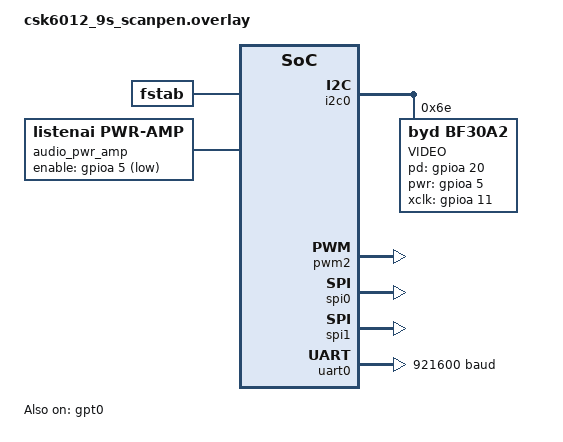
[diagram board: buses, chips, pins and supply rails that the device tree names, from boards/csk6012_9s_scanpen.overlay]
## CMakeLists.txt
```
cmake_minimum_required(VERSION 3.20.0)
# Copyright (c) 2018 Nordic Semiconductor ASA
# Copyright (c) 2019 Linaro Limited
#
# SPDX-License-Identifier: Apache-2.0
#
#set(ZEPHYR_EXTRA_MODULES $ENV{ZEPHYR_BASE}/../modules/lib/sof_host)

if("${BOARD}" STREQUAL "csk6_tester" OR "${BOARD}" STREQUAL "csk6002_c3_nano"  OR "${BOARD}" STREQUAL "csk6002_9s_nano" OR "${BOARD}" STREQUAL "csk6012_9s_scanpen")
  set(BUILD_DSP_FIRMWARE OFF)
  find_package(Zephyr REQUIRED HINTS $ENV{ZEPHYR_BASE})
  message(INFO " ${BOARD} compile as Master in this sample")
  target_sources(app PRIVATE src/main.c)
  add_subdirectory(./src)
  zephyr_compile_options(-g3 -gdwarf-2)
  add_subdirectory(lisa_hal)
  add_subdirectory(scanpen_lisa/lisa_os)
  add_subdirectory(scanpen_lisa/lisa_net)
  add_subdirectory(scanpen_lisa/unit_test)
  add_subdirectory(scanpen_lisa/scanpen_sdk)
  # add_subdirectory(scanpen_lisa/scanpen_app)
  # zephyr_compile_options(-fno-short-enums)
  #zephyr_ld_options(-fno-short-enums)

  # zephyr_code_relocate($ENV{ZEPHYR_BASE}/kernel/sched.c SRAM_TEXT)
  # # zephyr_code_relocate($ENV{ZEPHYR_BASE}/kernel/timer.c SRAM_TEXT)
  # # zephyr_code_relocate($ENV{ZEPHYR_BASE}/kernel/thread.c SRAM_TEXT)
  
  # # zephyr_code_relocate($ENV{ZEPHYR_BASE}/arch/arm/core/aarch32/prep_c.c SRAM_TEXT)
  # # zephyr_code_relocate($ENV{ZEPHYR_BASE}/arch/arm/core/aarch32/cpu_idle.S SRAM_TEXT)
  
  # zephyr_code_relocate($ENV{ZEPHYR_BASE}/arch/arm/core/aarch32/swap.c SRAM_TEXT)
  # zephyr_code_relocate($ENV{ZEPHYR_BASE}/arch/arm/core/aarch32/swap_helper.S SRAM_TEXT)
  
  # zephyr_code_relocate($ENV{ZEPHYR_BASE}/arch/arm/core/aarch32/cortex_m/vector_table.S SRAM_TEXT)
  # # zephyr_code_relocate($ENV{ZEPHYR_BASE}/arch/arm/core/aarch32/cortex_m/thread.c SRAM_TEXT)
  # # zephyr_code_relocate($ENV{ZEPHYR_BASE}/arch/arm/core/aarch32/cortex_m/timing.c SRAM_TEXT)
  # # zephyr_code_relocate($ENV{ZEPHYR_BASE}/arch/arm/core/aarch32/cortex_m/reset.S SRAM_TEXT)
  # # zephyr_code_relocate($ENV{ZEPHYR_BASE}/arch/arm/core/aarch32/cortex_m/thread.S SRAM_TEXT)
  
  # zephyr_code_relocate($ENV{ZEPHYR_BASE}/arch/arm/core/aarch32/irq_manage.c SRAM_TEXT)
  # zephyr_code_relocate($ENV{ZEPHYR_BASE}/arch/arm/core/aarch32/irq_relay.S SRAM_TEXT)
  # zephyr_code_relocate($ENV{ZEPHYR_BASE}/arch/arm/core/aarch32/isr_wrapper.S SRAM_TEXT)
  # zephyr_code_relocate($ENV{ZEPHYR_BASE}/arch/arm/core/aarch32/cortex_m/exc_exit.S SRAM_TEXT)
  
  # # zephyr_code_relocate($ENV{ZEPHYR_BASE}/soc/arm/csk6/cache.c SRAM_TEXT)
  # # zephyr_code_relocate($ENV{ZEPHYR_BASE}/soc/arm/csk6/mpu_regions.c SRAM_TEXT)
  # zephyr_code_relocate($ENV{ZEPHYR_BASE}/include/arch/arm/aarch32/asm_inline_gcc.h SRAM_TEXT)
  # zephyr_code_relocate($ENV{ZEPHYR_BASE}/include/arch/arm/aarch32/irq.h SRAM_TEXT)
  
  zephyr_code_relocate($ENV{ZEPHYR_BASE}/drivers/dma/dma_csk6.c ITCM_TEXT)
  zephyr_code_relocate($ENV{ZEPHYR_BASE}/../modules/hal/listenai/csk6/drivers/cm33/dma.c ITCM_TEXT)
  zephyr_code_relocate($ENV{ZEPHYR_BASE}/drivers/video/bf30a2.c ITCM_TEXT)
  
  if((CONFIG_MBEDTLS_ENABLE_HEAP) AND (CONFIG_CODE_DATA_RELOCATION))
    zephyr_code_relocate( ${ZEPHYR_BASE}/modules/mbedtls/zephyr_init.c PSRAMAP_BSS)
  endif()

 
  zephyr_compile_options(-g3 -gdwarf-2)
endif()


if(BUILD_DSP_FIRMWARE)

  set(REMOTE_ZEPHYR_DIR ${CMAKE_CURRENT_BINARY_DIR}/sof-dsp-prefix/src/sof-dsp-build/zephyr)

  if("${BOARD}" STREQUAL "csk6_tester" OR "${BOARD}" STREQUAL "csk6002_c3_nano"  OR "${BOARD}" STREQUAL "csk6002_9s_nano" OR "${BOARD}" STREQUAL "csk6012_9s_scanpen")
    set(BOARD_REMOTE "ls_adsp_csk6")
  else()
    message(FATAL_ERROR "${BOARD} was not supported for this sample")
  endif()

  project(sof-dsp)

  enable_language(C ASM)

  #target_sources(app PRIVATE src/load_fw.c src/mem_image_store.c src/platform_info.c src/zynqmp_csk6_rproc_example.c )

  include(ExternalProject)

  set(ENV{XCC_USE_CLANG} "1")
  set(ENV{ZEPHYR_TOOLCHAIN_VARIANT} "xcc")

  ExternalProject_Add(
    sof_remote
    SOURCE_DIR ${APPLICATION_SOURCE_DIR}/remote
    INSTALL_COMMAND ""      # This particular build system has no install command
    CMAKE_CACHE_ARGS -DBOARD:STRING=${BOARD_REMOTE}
    BUILD_BYPRODUCTS "${REMOTE_ZEPHYR_DIR}/${KERNEL_BIN_NAME}"
    # NB: Do we need to pass on more CMake variables?
    BUILD_ALWAYS True
  )

  unset(ENV{XCC_USE_CLANG})
  unset(ENV{ZEPHYR_TOOLCHAIN_VARIANT})
  target_include_directories(app PRIVATE ${CMAKE_CURRENT_SOURCE_DIR} ./src) 

endif()
```

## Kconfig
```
# Private config options for load sencond core firmware app

# SPDX-License-Identifier: Apache-2.0

# Workaround for not being able to have commas in macro arguments

DT_CHOSEN_Z_FLASH_SYSFS_STORAGE := zephyr,flash_sysfs_storage
DT_CHOSEN_Z_FLASH_CONTROLLER := zephyr,flash_controller
DT_CHOSEN_Z_INN_FLASH := zephyr,flash
DT_CHOSEN_Z_IPC_SHM := zephyr,ipc_shm
DT_CHOSEN_Z_PSRAM_AP := zephyr,psramap

if DISK_DRIVER_FLASH

	config DISK_FLASH_START
		default "$(dt_chosen_reg_addr_hex,$(DT_CHOSEN_Z_FLASH_SYSFS_STORAGE))"

	config DISK_FLASH_DEV_NAME
		default "$(dt_chosen_label,$(DT_CHOSEN_Z_FLASH_CONTROLLER))"

	config DISK_VOLUME_SIZE
		default "$(dt_chosen_reg_size_hex,$(DT_CHOSEN_Z_FLASH_SYSFS_STORAGE))"


	config DISK_FLASH_MAX_RW_SIZE
		default 4096
		#default $(dt_node_int_prop_hex,$(DT_CHOSEN_Z_INN_FLASH),erase-block-size)

	config DISK_FLASH_ERASE_ALIGNMENT
		default 0x1000
		#default "$(dt_node_int_prop_hex,$(DT_CHOSEN_Z_INN_FLASH),erase-block-size)"

	config DISK_ERASE_BLOCK_SIZE
		default 0x1000
		#default "$(dt_node_int_prop_hex,$(DT_CHOSEN_Z_INN_FLASH),erase-block-size)"
endif


#SOF IPC MEMORY CONFIG
config SOF_IPC_SHM_BASE_ADDRESS
	default "$(dt_chosen_reg_addr_hex,$(DT_CHOSEN_Z_IPC_SHM))"

config SOF_IPC_SHM_SIZE
	default "$(dt_chosen_reg_size_hex,$(DT_CHOSEN_Z_IPC_SHM))"
	help
	  This option specifies size of the memory region to be used
	  for the SOF IPC shared memory


config PSRAMAP_BASE_ADDRESS
	hex 
	default "$(dt_chosen_reg_addr_hex,$(DT_CHOSEN_Z_PSRAM_AP))"

config PSRAMAP_SIZE
	hex
	default "$(dt_chosen_reg_size_hex,$(DT_CHOSEN_Z_PSRAM_AP))"

menu "Example Configuration"

    config EXAMPLE_WIFI_SSID
        string "WiFi SSID"
        default "wifi_ssid"

    config EXAMPLE_WIFI_PASSWORD
        string "WiFi password"
        default "wifi_password"

endmenu


config LISA_HEAP_ARENA_SIZE
	int "Size of the lisa mem malloc arena"
	default 0
	help
	  Indicate the size in bytes of the memory arena used for
	  lisa_mem's malloc() implementation.

source "Kconfig.zephyr"
```

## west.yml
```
manifest:
  remotes:
    - name: listenai
      url-base: https://cloud.listenai.com/scanpen/csk6/sdk
  projects:
    - name: zephyr
      remote: listenai
      revision: 28948c137231ab44253a2e729aa4dbc6e8312f28
      clone-depth: 1
      path: zephyr
      import: true
    - name: lisa_hal_online
      remote: listenai
      revision: 689c45ffdedde0779443e77d40d4767fab5d9736
      path: app/lisa_hal
    - name: scanpen_lisa 
      remote: listenai
      revision: 846b871bfbc017d22d0a4b19ea70b61c978e8d3b
      path: app/scanpen_lisa
    
```

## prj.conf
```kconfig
CONFIG_PRINTK=y
CONFIG_DEBUG=y
CONFIG_LOG=y
CONFIG_LOG_PRINTK=y
CONFIG_LOG_MODE_IMMEDIATE=y
#CONFIG_LOG_BUFFER_SIZE=1024
# CONFIG_LOG_STRDUP_MAX_STRING=128
# CONFIG_LOG_STRDUP_BUF_COUNT=64
CONFIG_LOG_DETECT_MISSED_STRDUP=n
CONFIG_LOG_BACKEND_SHOW_COLOR=y
CONFIG_LOG_BACKEND_FORMAT_TIMESTAMP=y
CONFIG_LOG_BACKEND_UART=y
CONFIG_LOG_BACKEND_UART_OUTPUT_TEXT=y
CONFIG_GPIO=y
CONFIG_MAIN_STACK_SIZE=4096
CONFIG_HEAP_MEM_POOL_SIZE=66000

#libc配置
CONFIG_NEWLIB_LIBC_FLOAT_PRINTF=y
CONFIG_NEWLIB_LIBC=y
CONFIG_NEWLIB_LIBC_FLOAT_SCANF=y

#psram init
CONFIG_CSK6_PSRAM=y
CONFIG_TEST_RANDOM_GENERATOR=y

#file system
#CONFIG_DISK_DRIVER_FLASH=y
CONFIG_FLASH=y
CONFIG_FLASH_MAP=y
CONFIG_FILE_SYSTEM=y
#CONFIG_FS_FATFS_CODEPAGE=936
#CONFIG_FS_FATFS_LFN=y
#CONFIG_FS_FATFS_MAX_LFN=255
#CONFIG_FS_FATFS_LFN_MODE_BSS=y


#usb mass storage
#CONFIG_USB_DEVICE_STACK=y
#CONFIG_USB_DEVICE_PRODUCT="Zephyr DFU sample"
#CONFIG_USB_MASS_STORAGE=y
#CONFIG_MASS_STORAGE_STACK_SIZE=4096
#CONFIG_MASS_STORAGE_DISK_NAME="NAND"
CONFIG_SYSTEM_WORKQUEUE_STACK_SIZE=2048

#CONFIG_USB_DRIVER_LOG_LEVEL_ERR=y
#CONFIG_USB_DEVICE_LOG_LEVEL_ERR=y
#CONFIG_USB_MASS_STORAGE_LOG_LEVEL_ERR=y
#CONFIG_USB_DRIVER_LOG_LEVEL_ERR=y

#usb cdc
#CONFIG_UART_LINE_CTRL=y
#CONFIG_USB_CDC_ACM_RINGBUF_SIZE=4096
#CONFIG_USB_CDC_ACM_LOG_LEVEL_ERR=y

#usb dfu
# CONFIG_USB_DFU_CLASS=y
# CONFIG_IMG_MANAGER=y
# CONFIG_IMG_BLOCK_BUF_SIZE=4096
#CONFIG_BOOTLOADER_MCUBOOT=y

#Fixd for WinUSB driver install.
#CONFIG_USB_DEVICE_VID=0x2FE3
#CONFIG_USB_DEVICE_PID=0x200

#sof
CONFIG_SOF_HOST=y
CONFIG_AVF_DEBUG_LEVEL=2
CONFIG_AVF_STREAM_SVR_DEBUG=n
#CONFIG_AVF_LOG_LEVEL_ERR=y
#CONFIG_AVF_USE_FS_FATFS=y
#CONFIG_FAT_FILESYSTEM_ELM=y
CONFIG_AVF_USE_FS_LITTLEFS=y
CONFIG_AVF_DSP_XIP=y
CONFIG_AVF_MODULES_ALG_OCR=y
CONFIG_AVF_MODULES_ALG_TTS=y
CONFIG_AVF_MODULES_ALG_TRANSLATE=y

CONFIG_FILE_SYSTEM_LITTLEFS=y
CONFIG_POSIX_MAX_FDS=16
#sof example usr lisa heap 96k
CONFIG_LISA_HEAP_ARENA_SIZE=1580000
CONFIG_AVF_EXAMPLE=y
CONFIG_AVF_SHELL=y
CONFIG_AVF_USE_LISA_HEAP=y

#IPM
CONFIG_IPM=y

#shell
CONFIG_SHELL_ARGC_MAX=16
CONFIG_SHELL=y
CONFIG_SHELL_THREAD_PRIORITY_OVERRIDE=y
CONFIG_SHELL_THREAD_PRIORITY=-1

#network-wifi
CONFIG_WIFI=y
CONFIG_CSK_WIFI_XR819S=y
CONFIG_CSK_WIFI_STATION=y
CONFIG_NET_L2_ETHERNET=y
#networking
CONFIG_NETWORKING=y
CONFIG_NET_DHCPV4=y
CONFIG_NET_IPV4=y
CONFIG_NET_TCP=y
CONFIG_NET_SOCKETS=y
CONFIG_NET_SOCKETS_CONNECT_TIMEOUT=3000
CONFIG_NET_SOCKETS_POSIX_NAMES=y
CONFIG_NET_MGMT=y
CONFIG_NET_MGMT_EVENT=y
CONFIG_NET_MGMT_EVENT_STACK_SIZE=2048
CONFIG_NET_TCP_WORKQ_STACK_SIZE=2048
CONFIG_NET_RX_STACK_SIZE=2048
CONFIG_NET_TX_STACK_SIZE=2048
CONFIG_NET_PKT_RX_COUNT=80
CONFIG_NET_PKT_TX_COUNT=120
CONFIG_NET_BUF_RX_COUNT=64
CONFIG_NET_BUF_TX_COUNT=100
CONFIG_NET_CONTEXT_NET_PKT_POOL=y
CONFIG_NET_TCP_RECV_QUEUE_TIMEOUT=10000

CONFIG_DNS_RESOLVER=y
CONFIG_DNS_SERVER_IP_ADDRESSES=y
CONFIG_DNS_SERVER1="8.8.8.8"

CONFIG_SYSTEM_WORKQUEUE_PRIORITY=-1
CONFIG_INIT_STACKS=y

# Network debug config
# CONFIG_NET_LOG=y

# HTTP & Websocket
CONFIG_HTTP_CLIENT=y
CONFIG_WEBSOCKET_CLIENT=n

# TLS configuration
CONFIG_MBEDTLS=y
CONFIG_MBEDTLS_BUILTIN=y
CONFIG_MBEDTLS_ENABLE_HEAP=y
CONFIG_MBEDTLS_HEAP_SIZE=53284
CONFIG_MBEDTLS_SSL_MAX_CONTENT_LEN=2048

# to enable TLS
CONFIG_NET_SOCKETS_SOCKOPT_TLS=y
CONFIG_NET_SOCKETS_TLS_MAX_CONTEXTS=10

# ListenAI moudle support
# zephyr System abstraction layer for other rtos, like freertos
CONFIG_ZPORT_SAL=y
CONFIG_ZPORT_SAL_LISA_MEM=y
# sal port to esp
CONFIG_ZPORT_ESP_TCP=y
CONFIG_ZPORT_ESP_HTTP=y
CONFIG_ZPORT_ESP_WS=y
CONFIG_ZPORT_ESP_ADF=n
# esp http & websocket
CONFIG_ZE_TCP_TRANSPORT=y
CONFIG_ZE_TCP_TRANSPORT_ENABLE_SSL=y
CONFIG_ZE_HTTP_CLIENT=y
CONFIG_ZE_HTTP_CLIENT_ENABLE_HTTPS=y
CONFIG_ZE_WEBSOCKET_CLIENT=y
CONFIG_BASE64=y
# esp adf - pipeline
# CONFIG_ZE_ADF=y
# CONFIG_ZE_ADF_HTTP_STREAM_ENABLE=y
# CONFIG_ZE_ADF_FS_STREAM_ENABLE=y
# CONFIG_ZE_ADF_MEMORY_STREAM_ENABLE=y
# CONFIG_ZE_ADF_AVF_STREAM_ENABLE=y
# lisa player
#CONFIG_LISA_PLAYER=y
#CONFIG_LISA_PLAYER_AUDIO_STRCASECMP_ENABLE=y

# Custom config for example
#CONFIG_LISA_PLAYER_SHELL_ENABLE=y
#CONFIG_LISA_PLAYER_SHELL_DEFINE_FILE="/NAND:/{{YOUR_FILE_NAME}}.wav"
# setup local http_server in ./temp/ folder:
# Linux: export LISA_ZEP_EXEC=1 && lisa zep exec python -m http.server 8080
# Windows: set LISA_ZEP_EXEC=1 && lisa zep exec python -m http.server 8080
# 打开 http://127.0.0.1:8080
#CONFIG_LISA_PLAYER_SHELL_DEFINE_URL="http://{{YOUR_PC_IP}}:8080/fdf7ea5d44626d0319e2fac116019d4af.wav"

# config wifi
# CONFIG_EXAMPLE_WIFI_SSID="Xiaomi_2.4G"
# CONFIG_EXAMPLE_WIFI_PASSWORD="a123456789"

CONFIG_EXAMPLE_WIFI_SSID="TreeNewbear"
CONFIG_EXAMPLE_WIFI_PASSWORD="csk_wifi_connect"

# Enable Testing

# shell: ze_http_client test_start
CONFIG_ZE_HTTP_CLIENT_TEST_SHELL=y

# shell: ze_websocket_client test_start
CONFIG_ZE_WEBSOCKET_CLIENT_TEST_SHELL=y
# websocket server test paltform: http://www.easyswoole.com/wstool.html
CONFIG_ZE_WEBSOCKET_CLIENT_TEST_URI="ws://82.157.123.54:9010/ajaxchattest"

#shell
CONFIG_SHELL_ARGC_MAX=16
CONFIG_SHELL=y

#cache
CONFIG_CACHE_MANAGEMENT=y

# mcumgr
CONFIG_MCUMGR=y
# Required by the `taskstat` command.
CONFIG_THREAD_MONITOR=y
# Enable statistics and statistic names.
CONFIG_STATS=y
CONFIG_STATS_NAMES=y
# Enable most core commands.
# CONFIG_MCUMGR_CMD_IMG_MGMT=y
CONFIG_MCUMGR_CMD_OS_MGMT=y
CONFIG_MCUMGR_CMD_STAT_MGMT=y
CONFIG_MCUMGR_CMD_FS_MGMT=y
# Enable the shell mcumgr transport.
CONFIG_MCUMGR_SMP_SHELL=y
CONFIG_SHELL_LOG_BACKEND=n
# Enable the UDP mcumgr transports.
# CONFIG_MCUMGR_SMP_UDP=y
# CONFIG_MCUMGR_SMP_UDP_IPV4=y
# CONFIG_MCUMGR_SMP_UDP_IPV6=y
# CONFIG_NET_CONNECTION_MANAGER=y
# CONFIG_NET_BUF_USER_DATA_SIZE=24


# video
CONFIG_SPI=y
CONFIG_I2C=y
CONFIG_DMA=y
CONFIG_PWM=y
CONFIG_VIDEO=y
CONFIG_VIDEO_BF30A2=y

CONFIG_VIDEO_BUFFER_POOL_SZ_MAX=25600
CONFIG_SCHED_MULTIQ=y

#CONFIG_USB_DC_CSK6_THREAD_STACK_SIZE=1024


#CONFIG_KERNEL_MEM_POOL=y
#CONFIG_STDOUT_CONSOLE=n

CONFIG_ASSERT=y
CONFIG_ASSERT_LEVEL=2


CONFIG_CODE_DATA_RELOCATION=y
# CONFIG_CODE_DATA_RELOCATION_SRAM=y

CONFIG_XR_UMAC_PRIORITY=2
CONFIG_XR_WPAS_PRIORITY=2
CONFIG_XR_WORKQUEUE_PRIORITY=2
CONFIG_XR_BH_PRIORITY=1
CONFIG_XR_RX_PROC_PRIORITY=3
CONFIG_WIFI_CTRL_STACK_SIZE=2048


# CONFIG_THREAD_ANALYZER=y
# CONFIG_THREAD_ANALYZER_USE_PRINTK=y
# CONFIG_THREAD_ANALYZER_AUTO=y
# CONFIG_THREAD_ANALYZER_AUTO_INTERVAL=5
# CONFIG_THREAD_RUNTIME_STATS=y
# CONFIG_THREAD_NAME=y
CONFIG_ZERO_LATENCY_IRQS=y
CONFIG_SPIN_VALIDATE=y
CONFIG_DYNAMIC_INTERRUPTS=y
CONFIG_NOCACHE_MEMORY=y

# CONFIG_VIDEO_CUSTOM_SECTION=y
# CONFIG_VIDEO_CUSTOM_SECTION_NAME=".psram_section"
```

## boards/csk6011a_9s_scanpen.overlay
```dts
/*
 * Copyright (c) 2021 listenai Intelligent Technology (anhui) Co., Ltd.
 *
 * SPDX-License-Identifier: Apache-2.0
 */


/ {
	chosen {
		/*
		 * shared memory reserved for the inter-processor communication
		 */
		zephyr,ipc_shm = &psram_share;
		zephyr,ipc = &mailbox0;
		zephyr,flash_sysfs_storage = &filesystem_part;
		zephyr,flash_controller = &flash;
		zephyr,uart-mcumgr = &uart0;
		zephyr,psramap = &psram_ap;
		/*
		 *zephyr,code-partition = &slot0_partition;
		 */
		/*
		 *zephyr,lisa_heap = &psram_region1;
		 */
	};

	 aliases {
		 avf-audio-pwr-amp = &pwr_amp;
	 };


	fstab {
		compatible = "zephyr,fstab";
		lfs1: lfs1 {
			compatible = "zephyr,fstab,littlefs";
			mount-point = "/lfs1";
			partition = <&filesystem_part>;
			automount ;
			no-format;
			read-size = <16>;
			prog-size = <16>;
			cache-size = <64>;
			lookahead-size = <32>;
			block-cycles = <512>;
		};
	};

	pwr_amp:audio_pwr_amp{
		 compatible = "listenai,pwr-amp";
		 enable-gpios = <&gpiob 6 0>;
		 label = "audio_pwr_amp";
		 status = "okay";
	 };

	 gpio,user {
		compatible = "listenai,csk-gpio-user";
		// 电源开关
		// pwrlock: powerlock {
		// 		gpios = <&gpiob 5 1>;
		// 		label = "power_lock";
		// };
		// LCD背光控制
		// pwm1pin: pwm1pin {
		// 		gpios = <&gpioa 5 0>;
		// 		label = "power_lock";
		// };
		// 翻译开关
		fy_key: fykey {
				gpios = <&gpiob 4 1>;
				label = "power_lock";
		};

		// 按压开关
		key_key: keykey {
			gpios = <&gpiob 5 1>;
			label = "keykey";
		};


};

};


&flash0 {
	reg = <0x18000000 DT_SIZE_M(8)>;
	write-block-size = <4>;
	partitions {
		compatible = "fixed-partitions";
		#address-cells = <1>;
		#size-cells = <1>;
        /* filesystem: 2.625MB */
        filesystem_part: partition@260000 {
					label = "filesystem";
					reg = <0x260000 0x2a0000>;
			};
	};
};

// &i2c0 {
//         status = "okay";
//         pinctrl-0 = <&pinctrl_i2c0_scl_default &pinctrl_i2c0_sda_default>;
//         pinctrl-names = "default";

//         bf30a2: bf30a2@6e {
//             compatible = "byd,bf30a2";
//             status = "okay";
//             label = "VIDEO";
//             reg = <0x6e>;
//             pd-gpios = <&gpioa 20 0>;
//             pwr-gpios = <&gpioa 5 0>;
//             product-id = <0x3b02>;
//             spi = <&spi1>;
// 			xclk-gpios = <&gpioa 11 0>;
//         };
// };

&gpt0 {
	status = "okay";

	pwm2: pwm2 {
        clock-prescaler = <1>;
        status = "okay";
        pinctrl-0 = <&pinctrl_pwm2_default>;
        pinctrl-names = "default";
    };
};

&spi0 {
	    status = "okay";
		    spi-max-frequency = <25000000>;
};

&spi1 {
    status = "okay";
    spi-max-frequency = <100000000>;
    pinctrl-0 = <&pinctrl_spi1_sclk_default &pinctrl_spi1_mosi_default &pinctrl_spi1_cs_default>;
	pinctrl-names = "default";
};


&csk6011a_9s_scanpen_pinctrl {
            /* UART alternate function */
			pinctrl_uart0_rx_default: uart0_rx_default{
					pinctrls = <&pinmuxb 8 2>;
			};
			
			pinctrl_uart0_tx_default: uart0_tx_default{
					pinctrls = <&pinmuxb 9 2>;
			};
	
                // pinctrl_pwm2_default: pwm2_default{
                //     pinctrls = <&pinmuxb 6 11>;
                // };


                // pinctrl_pwm1_default: pwm1_default{
                //     pinctrls = <&pinmuxa 5 11>;
                // };

                // pinctrl_i2c0_scl_default: i2c0_scl_default{
                //         pinctrls = <&pinmuxb 2 8>;
                // };

                // pinctrl_i2c0_sda_default: i2c0_sda_default{
                //         pinctrls = <&pinmuxb 3 8>;
                // };

				// pinctrl_spi1_sclk_default: spi1_sclk_default {
                //     pinctrls = < &pinmuxb 0 7 >;
                // };

                // pinctrl_spi1_mosi_default: spi1_mosi_default {
                //     pinctrls = < &pinmuxb 1 7 >;
                // };

                // pinctrl_spi1_miso_default: spi1_miso_default {
                //     pinctrls = < &pinmuxa 20 7 >;
                // };

                // pinctrl_spi1_cs_default: spi1_cs_default {
                //     pinctrls = < &pinmuxa 9 7 >;
                // };
};

&uart0 {
	current-speed = <921600>;
	status = "okay";
};
```

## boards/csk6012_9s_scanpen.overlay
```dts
/*
 * Copyright (c) 2021 listenai Intelligent Technology (anhui) Co., Ltd.
 *
 * SPDX-License-Identifier: Apache-2.0
 */
/delete-node/ &storage_partition;

/ {
	chosen {
		/*
		 * shared memory reserved for the inter-processor communication
		 */
		zephyr,ipc_shm = &psram_share;
		zephyr,ipc = &mailbox0;
		zephyr,flash_sysfs_storage = &filesystem_part;
		zephyr,flash_controller = &flash;
		zephyr,uart-mcumgr = &uart0;
		zephyr,psramap = &psram_ap;
		/*
		 *zephyr,code-partition = &slot0_partition;
		 */
		/*
		 *zephyr,lisa_heap = &psram_region1;
		 */
	};

	 aliases {
		 avf-audio-pwr-amp = &pwr_amp;
	 };


	fstab {
		compatible = "zephyr,fstab";
		lfs1: lfs1 {
			compatible = "zephyr,fstab,littlefs";
			mount-point = "/lfs1";
			partition = <&filesystem_part>;
			automount ;
			no-format;
			read-size = <16>;
			prog-size = <16>;
			cache-size = <64>;
			lookahead-size = <32>;
			block-cycles = <512>;
		};
	};

	pwr_amp:audio_pwr_amp{
		 compatible = "listenai,pwr-amp";
		 enable-gpios = <&gpioa 5 1>;
		 label = "audio_pwr_amp";
		 status = "okay";
	 };

	 gpio,user {
		compatible = "listenai,csk-gpio-user";
		pwrlock: powerlock {
				gpios = <&gpiob 5 1>;
				label = "power_lock";
		};
		pwm1pin: pwm1pin {
				gpios = <&gpioa 5 0>;
				label = "power_lock";
		};
		fy_key: fykey {
				gpios = <&gpiob 5 1>;
				label = "power_lock";
		};


};

};


&flash0 {
	reg = <0x18000000 DT_SIZE_M(8)>;
	write-block-size = <4>;
	partitions {
		compatible = "fixed-partitions";
		#address-cells = <1>;
		#size-cells = <1>;
        /* filesystem: 2.625MB */
        filesystem_part: partition@260000 {
					label = "filesystem";
					reg = <0x260000 0x2a0000>;
			};
	};
};

&i2c0 {
        status = "okay";
        pinctrl-0 = <&pinctrl_i2c0_scl_default &pinctrl_i2c0_sda_default>;
        pinctrl-names = "default";

        bf30a2: bf30a2@6e {
            compatible = "byd,bf30a2";
            status = "okay";
            label = "VIDEO";
            reg = <0x6e>;
            pd-gpios = <&gpioa 20 0>;
            pwr-gpios = <&gpioa 5 0>;
            product-id = <0x3b02>;
            spi = <&spi1>;
			xclk-gpios = <&gpioa 11 0>;
        };
};

&gpt0 {
	status = "okay";

	pwm2: pwm2 {
        clock-prescaler = <1>;
        status = "okay";
        pinctrl-0 = <&pinctrl_pwm2_default>;
        pinctrl-names = "default";
    };
};

&spi0 {
	    status = "okay";
		    spi-max-frequency = <25000000>;
};

&spi1 {
    status = "okay";
    spi-max-frequency = <100000000>;
    pinctrl-0 = <&pinctrl_spi1_sclk_default &pinctrl_spi1_mosi_default &pinctrl_spi1_cs_default>;
	pinctrl-names = "default";
};


&csk6012_9s_scanpen_pinctrl {

                pinctrl_pwm2_default: pwm2_default{
                    pinctrls = <&pinmuxb 6 11>;
                };


                pinctrl_pwm1_default: pwm1_default{
                    pinctrls = <&pinmuxa 5 11>;
                };

                pinctrl_i2c0_scl_default: i2c0_scl_default{
                        pinctrls = <&pinmuxb 2 8>;
                };

                pinctrl_i2c0_sda_default: i2c0_sda_default{
                        pinctrls = <&pinmuxb 3 8>;
                };

				pinctrl_spi1_sclk_default: spi1_sclk_default {
                    pinctrls = < &pinmuxb 0 7 >;
                };

                pinctrl_spi1_mosi_default: spi1_mosi_default {
                    pinctrls = < &pinmuxb 1 7 >;
                };

                pinctrl_spi1_miso_default: spi1_miso_default {
                    pinctrls = < &pinmuxa 20 7 >;
                };

                pinctrl_spi1_cs_default: spi1_cs_default {
                    pinctrls = < &pinmuxa 9 7 >;
                };
};

&uart0 {
	current-speed = <921600>;
	status = "okay";
};
```

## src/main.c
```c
/*
 *
 * SPDX-License-Identifier: Apache-2.0
 */
#include <zephyr.h>
#include <device.h>
#include <devicetree.h>
#include <net/net_pkt.h>

extern void s_fs_mount(void);
extern void mcumgr_domain();
extern void sof_domain(void);
extern void network_domain(void);
extern void start_scanpen_online();
extern void lisa_heap_info(void);

#define PRINT_HEAP_INFO()  {extern struct k_heap _system_heap;sys_heap_print_info(&_system_heap.heap,0);}
void main(void)
{
	printk("sizeof(struct net_pkt)=%d bytes \n",sizeof(struct net_pkt));
#ifdef CONFIG_SOF_HOST
	s_fs_mount();
#endif

/*Initialization of the SOF must be performed before wifi is enabled，
**because of heap space limitations,*/
#ifdef CONFIG_SOF_HOST
	sof_domain();
#endif


#ifdef CONFIG_WIFI
	network_domain();
#endif


#ifdef CONFIG_MCUMGR
	mcumgr_domain();
#endif

	start_scanpen_online();

	while (1) {
		lisa_heap_info();
		PRINT_HEAP_INFO();
		k_msleep(60000);

	}
}
```

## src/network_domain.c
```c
#include <zephyr.h>

#include <stdlib.h>
#include <sys/printk.h>
#include <sys/sys_heap.h>

#include <net/net_if.h>
#include <net/net_core.h>
#include <net/net_context.h>
#include <net/net_mgmt.h>

#include <logging/log.h>
LOG_MODULE_REGISTER(csk_wifi_sta, LOG_LEVEL_DBG);

#include "csk6/csk_wifi.h"
K_SEM_DEFINE(ip_sem, 0, 1);

static csk_wifi_event_cb_t wifi_event_cb;
static struct net_mgmt_event_callback dhcp_cb;
static void handler_cb(struct net_mgmt_event_callback *cb, uint32_t mgmt_event, struct net_if *iface)
{
    if (mgmt_event != NET_EVENT_IPV4_DHCP_BOUND) {
        return;
    }

    char buf[NET_IPV4_ADDR_LEN];

    printk("Your address: %s\n", net_addr_ntop(AF_INET, &iface->config.dhcpv4.requested_ip, buf, sizeof(buf)));
    printk("Lease time: %u seconds\n", iface->config.dhcpv4.lease_time);
    printk("Subnet: %s\n", net_addr_ntop(AF_INET, &iface->config.ip.ipv4->netmask, buf, sizeof(buf)));
    printk("Router: %s\n", net_addr_ntop(AF_INET, &iface->config.ip.ipv4->gw, buf, sizeof(buf)));

    k_sem_give(&ip_sem);
}


static void wifi_event_handler(csk_wifi_event_t events, void *event_data, uint32_t data_len, void *arg)
{
    if (events & CSK_WIFI_EVT_STA_CONNECTED) {
        printk("[WiFi sta] connected\n");
    } else if (events & CSK_WIFI_EVT_STA_DISCONNECTED) {
        printk("[WiFi sta] disconnected\n");
    } else {
        abort();
    }
}

void network_domain_task(void){
    csk_wifi_init();
    wifi_event_cb.handler = &wifi_event_handler;
    wifi_event_cb.events = CSK_WIFI_EVT_STA_CONNECTED | CSK_WIFI_EVT_STA_DISCONNECTED;
    wifi_event_cb.arg = NULL;
    csk_wifi_add_callback(&wifi_event_cb);

    csk_wifi_sta_config_t sta_config = {
        .ssid = CONFIG_EXAMPLE_WIFI_SSID,
        .pwd = CONFIG_EXAMPLE_WIFI_PASSWORD,
        .encryption_mode = CSK_WIFI_AUTH_WPA2_PSK
    };

    int retry_count = 0;
    csk_wifi_result_t wifi_result;
    do {
        printk("connecting to wifi: %s ...\n", sta_config.ssid);
        int ret = csk_wifi_sta_connect(&sta_config, &wifi_result, K_FOREVER);
        if (ret == 0) {
            break;
        } else {
            if (wifi_result == CSK_WIFI_ERR_STA_FAILED) {
                retry_count++;
                printk("retry to connecting wifi ... %d\n", retry_count);
            } else {
                printk("AP not found or invalid password\n");
                abort();
            }
        }
    } while (retry_count < 10);
    net_mgmt_init_event_callback(&dhcp_cb, handler_cb, NET_EVENT_IPV4_DHCP_BOUND);
    net_mgmt_add_event_callback(&dhcp_cb);
    struct net_if *iface = net_if_get_default();
    if (!iface) {
        printk("wifi interface not available");
        return;
    }
    net_dhcpv4_start(iface);
    k_sem_take(&ip_sem, K_FOREVER);
	//while (1) {
		//k_sleep(K_MSEC(1000));
	//}
}


//struct k_thread network_thread;

//K_KERNEL_STACK_DEFINE(network_stack, 512);

void network_domain(void){
    #if 0
	k_thread_create(&network_thread, network_stack,
				K_KERNEL_STACK_SIZEOF(network_stack), &network_domain_task, NULL, NULL, NULL,
				2, 0, K_NO_WAIT);
	k_thread_system_pool_assign(&network_thread);
    #endif
    network_domain_task();
}
```

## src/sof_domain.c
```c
/*
 * Copyright (c) 2020 Intel Corporation.
 *
 * SPDX-License-Identifier: Apache-2.0
 */

#include <zephyr.h>
#include <lisa_mem.h>
#include <avf_platform.h>

extern void example_vcapture_mem_register(void* pmalloc,void* pcalloc,void* pfree);
void sof_domain(void){
#if(CONFIG_AVF_EXAMPLE)
    example_vcapture_mem_register(lisa_mem_alloc,lisa_mem_calloc,lisa_mem_free);
#endif
    avf_stream_platform_register();
}
```
